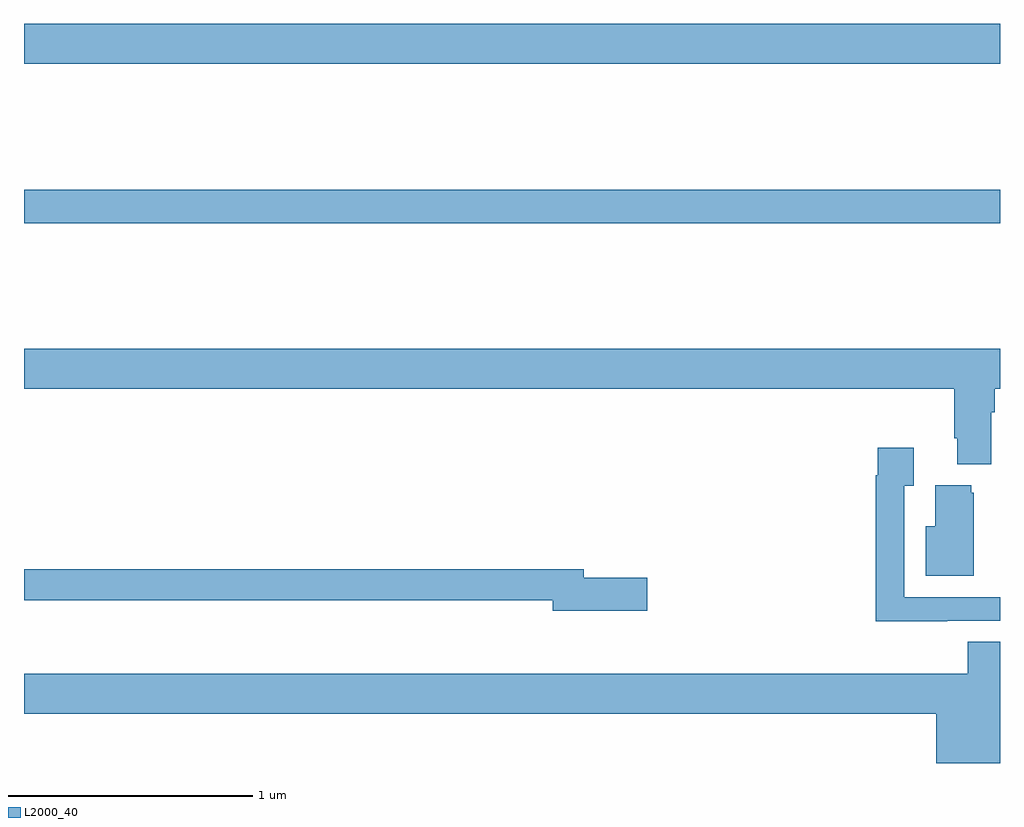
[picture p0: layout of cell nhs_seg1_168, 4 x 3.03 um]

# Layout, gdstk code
import gdstk
lib = gdstk.Library(unit=1e-6, precision=1e-09)
def R(c, l, rs):  # rectangles x0, y0, x1, y1
    for r in rs: c.add(gdstk.rectangle(r[:2], r[2:], *l))
def P(c, l, *ps):  # polygons
    for p in ps: c.add(gdstk.Polygon(p, *l))
L2000_40 = (2000, 40)

nhs_seg1_168 = lib.new_cell('nhs_seg1_168')
R(nhs_seg1_168, L2000_40, [(119,552.412,123,552.548), (119,553.064,123,553.228)])
P(nhs_seg1_168, L2000_40, [(122.965,551.636),(122.978,551.636),(122.978,551.732),(123,551.732),(123,551.896),(119,551.896),(119,551.732),(122.813,551.732),(122.813,551.53),(122.825,551.53),(122.825,551.423),(122.965,551.423)],
  [(122.783,550.782),(123,550.782),(123,550.878),(122.607,550.878),(122.607,551.335),(122.647,551.335),(122.647,551.491),(122.499,551.491),(122.499,551.378),(122.491,551.378),(122.491,550.781),(122.783,550.781)],
  [(122.893,551.307),(122.882,551.307),(122.882,551.338),(122.735,551.338),(122.735,551.17),(122.696,551.17),(122.696,550.967),(122.893,550.967)],
  [(121.555,550.958),(121.294,550.958),(121.294,550.994),(119,550.994),(119,550.866),(121.166,550.866),(121.166,550.823),(121.555,550.823)],
  [(123,550.697),(122.867,550.697),(122.867,550.564),(119,550.564),(119,550.4),(122.738,550.4),(122.738,550.199),(123,550.199)])

lib.write_gds('nhs_seg1_168.gds')
